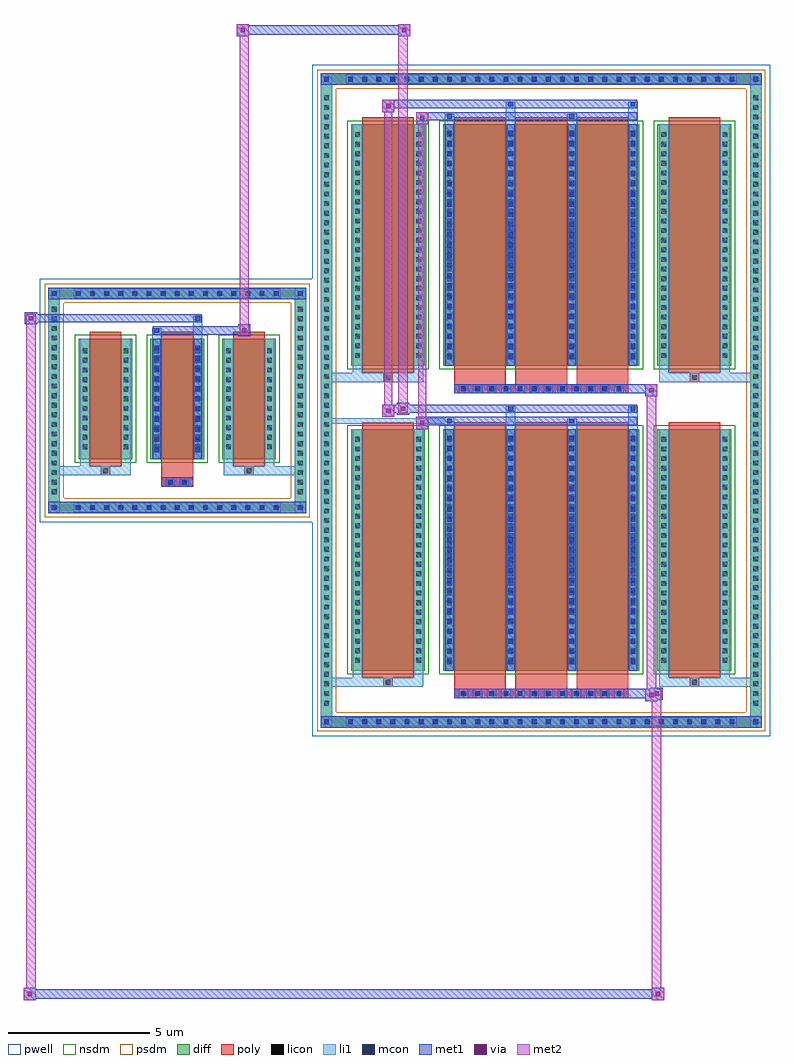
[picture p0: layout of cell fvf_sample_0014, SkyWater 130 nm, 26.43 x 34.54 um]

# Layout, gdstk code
import gdstk
lib = gdstk.Library(unit=1e-6, precision=1e-09)
def R(c, l, rs):  # rectangles x0, y0, x1, y1
    for r in rs: c.add(gdstk.rectangle(r[:2], r[2:], *l))
def A(c, l, x, y, w, h, nx, ny, dx, dy):  # array of equal rectangles
    R(c, l, [(x+i*dx, y+j*dy, x+i*dx+w, y+j*dy+h) for i in range(nx) for j in range(ny)])
def P(c, l, *ps):  # polygons
    for p in ps: c.add(gdstk.Polygon(p, *l))
pwell = (64, 44)
diff = (65, 20)
poly = (66, 20)
licon = (66, 44)
li1 = (67, 20)
mcon = (67, 44)
met1 = (68, 20)
via = (68, 44)
met2 = (69, 20)
nsdm = (93, 44)
psdm = (94, 20)

fvf_sample_0014 = lib.new_cell('fvf_sample_0014')
R(fvf_sample_0014, pwell, [(4.77,-11.888,20.992,11.888), (-4.87,-4.304,4.87,4.304)])
A(fvf_sample_0014, diff, 5.926, -11.578, 0.41, 0.41, 28, 2, 0.5, 22.746)
A(fvf_sample_0014, diff, 5.08, -10.915, 0.41, 0.41, 1, 64, 0, 0.34)
A(fvf_sample_0014, diff, 20.272, -10.915, 0.41, 0.41, 1, 64, 0, 0.34)
A(fvf_sample_0014, diff, -3.705, -3.994, 0.41, 0.41, 15, 2, 0.5, 7.578)
A(fvf_sample_0014, diff, -4.56, -3.435, 0.41, 0.41, 1, 20, 0, 0.34)
A(fvf_sample_0014, diff, 4.15, -3.435, 0.41, 0.41, 1, 20, 0, 0.34)
A(fvf_sample_0014, diff, -3.49, -2.073, 1.9, 4.262, 3, 1, 2.54, 0)
R(fvf_sample_0014, diff, [(5.926,-11.578,19.836,-11.168), (5.08,-10.915,5.49,10.915), (20.272,-10.915,20.682,10.915), (6.151,-9.557,8.767,-1.015), (9.407,-9.557,16.355,-1.015), (16.995,-9.557,19.611,-1.015), (-3.705,-3.994,3.705,-3.584), (-4.56,-3.435,-4.15,3.435), (4.15,-3.435,4.56,3.435), (6.151,1.231,8.767,9.773), (9.407,1.231,16.355,9.773), (16.995,1.231,19.611,9.773), (-3.705,3.584,3.705,3.994), (5.926,11.168,19.836,11.578)])
P(fvf_sample_0014, diff, [(4.56,3.994),(-4.56,3.994),(-4.56,-3.584),(-4.15,-3.584),(-4.15,3.584),(4.15,3.584),(4.15,-3.584),(-4.15,-3.584),(-4.56,-3.584),(-4.56,-3.994),(4.56,-3.994)],
  [(20.682,11.578),(5.08,11.578),(5.08,-11.168),(5.49,-11.168),(5.49,11.168),(20.272,11.168),(20.272,-11.168),(5.49,-11.168),(5.08,-11.168),(5.08,-11.578),(20.682,-11.578)])
A(fvf_sample_0014, poly, 9.966, -10.538, 0.33, 0.33, 12, 2, 0.5, 10.788)
A(fvf_sample_0014, poly, 9.797, -10.208, 1.836, 0.401, 3, 2, 2.166, 10.788)
A(fvf_sample_0014, poly, 9.797, -9.807, 1.836, 9.042, 3, 2, 2.166, 10.788)
A(fvf_sample_0014, poly, -3.1, -2.323, 1.12, 4.762, 3, 1, 2.54, 0)
R(fvf_sample_0014, poly, [(9.797,-10.538,15.965,-10.208), (7.294,-10.137,7.624,-9.807), (7.294,-10.137,7.624,-9.807), (18.138,-10.137,18.468,-9.807), (18.138,-10.137,18.468,-9.807), (6.541,-9.807,8.377,-0.765), (17.385,-9.807,19.221,-0.765), (-0.56,-3.054,0.56,-2.724), (-0.415,-3.054,-0.085,-2.724), (0.085,-3.054,0.415,-2.724), (-0.56,-2.724,0.56,-2.323), (-2.705,-2.653,-2.375,-2.323), (-2.705,-2.653,-2.375,-2.323), (2.375,-2.653,2.705,-2.323), (2.375,-2.653,2.705,-2.323), (9.797,0.25,15.965,0.58), (7.294,0.651,7.624,0.981), (7.294,0.651,7.624,0.981), (18.138,0.651,18.468,0.981), (18.138,0.651,18.468,0.981), (6.541,0.981,8.377,10.023), (17.385,0.981,19.221,10.023)])
A(fvf_sample_0014, licon, 6.046, -11.458, 0.17, 0.17, 28, 2, 0.5, 22.746)
A(fvf_sample_0014, licon, 5.2, -10.795, 0.17, 0.17, 1, 64, 0, 0.34)
A(fvf_sample_0014, licon, 20.392, -10.795, 0.17, 0.17, 1, 64, 0, 0.34)
A(fvf_sample_0014, licon, 10.046, -10.458, 0.17, 0.17, 12, 2, 0.5, 10.788)
A(fvf_sample_0014, licon, 6.291, -9.281, 0.17, 0.17, 1, 24, 0, 0.34)
A(fvf_sample_0014, licon, 8.457, -9.281, 0.17, 0.17, 1, 24, 0, 0.34)
A(fvf_sample_0014, licon, 9.547, -9.281, 0.17, 0.17, 4, 24, 2.166, 0.34)
A(fvf_sample_0014, licon, 17.135, -9.281, 0.17, 0.17, 1, 24, 0, 0.34)
A(fvf_sample_0014, licon, 19.301, -9.281, 0.17, 0.17, 1, 24, 0, 0.34)
A(fvf_sample_0014, licon, -3.585, -3.874, 0.17, 0.17, 15, 2, 0.5, 7.578)
A(fvf_sample_0014, licon, -4.44, -3.315, 0.17, 0.17, 1, 20, 0, 0.34)
A(fvf_sample_0014, licon, 4.27, -3.315, 0.17, 0.17, 1, 20, 0, 0.34)
A(fvf_sample_0014, licon, -3.35, -1.727, 0.17, 0.17, 1, 11, 0, 0.34)
A(fvf_sample_0014, licon, -1.9, -1.727, 0.17, 0.17, 1, 11, 0, 0.34)
A(fvf_sample_0014, licon, -0.81, -1.727, 0.17, 0.17, 1, 11, 0, 0.34)
A(fvf_sample_0014, licon, 0.64, -1.727, 0.17, 0.17, 1, 11, 0, 0.34)
A(fvf_sample_0014, licon, 1.73, -1.727, 0.17, 0.17, 1, 11, 0, 0.34)
A(fvf_sample_0014, licon, 3.18, -1.727, 0.17, 0.17, 1, 11, 0, 0.34)
A(fvf_sample_0014, licon, 6.291, 1.507, 0.17, 0.17, 1, 24, 0, 0.34)
A(fvf_sample_0014, licon, 8.457, 1.507, 0.17, 0.17, 1, 24, 0, 0.34)
A(fvf_sample_0014, licon, 9.547, 1.507, 0.17, 0.17, 4, 24, 2.166, 0.34)
A(fvf_sample_0014, licon, 17.135, 1.507, 0.17, 0.17, 1, 24, 0, 0.34)
A(fvf_sample_0014, licon, 19.301, 1.507, 0.17, 0.17, 1, 24, 0, 0.34)
R(fvf_sample_0014, licon, [(7.374,-10.057,7.544,-9.887), (18.218,-10.057,18.388,-9.887), (-0.335,-2.974,-0.165,-2.804), (0.165,-2.974,0.335,-2.804), (-2.625,-2.573,-2.455,-2.403), (2.455,-2.573,2.625,-2.403), (7.374,0.731,7.544,0.901), (18.218,0.731,18.388,0.901)])
A(fvf_sample_0014, li1, 5.966, -11.538, 0.33, 0.33, 28, 2, 0.5, 22.746)
A(fvf_sample_0014, li1, 5.12, -10.875, 0.33, 0.33, 1, 64, 0, 0.34)
A(fvf_sample_0014, li1, 20.312, -10.875, 0.33, 0.33, 1, 64, 0, 0.34)
A(fvf_sample_0014, li1, 9.966, -10.538, 0.33, 0.33, 12, 2, 0.5, 10.788)
A(fvf_sample_0014, li1, 9.467, -9.557, 0.33, 8.542, 4, 2, 2.166, 10.788)
A(fvf_sample_0014, li1, 6.211, -9.361, 0.33, 0.33, 1, 24, 0, 0.34)
A(fvf_sample_0014, li1, 8.377, -9.361, 0.33, 0.33, 1, 24, 0, 0.34)
A(fvf_sample_0014, li1, 9.467, -9.361, 0.33, 0.33, 4, 24, 2.166, 0.34)
A(fvf_sample_0014, li1, 17.055, -9.361, 0.33, 0.33, 1, 24, 0, 0.34)
A(fvf_sample_0014, li1, 19.221, -9.361, 0.33, 0.33, 1, 24, 0, 0.34)
A(fvf_sample_0014, li1, 9.547, -9.331, 0.17, 0.17, 4, 23, 2.166, 0.36)
A(fvf_sample_0014, li1, 9.547, -9.331, 0.17, 8.09, 4, 2, 2.166, 10.788)
A(fvf_sample_0014, li1, -3.665, -3.954, 0.33, 0.33, 15, 2, 0.5, 7.578)
A(fvf_sample_0014, li1, -4.52, -3.395, 0.33, 0.33, 1, 20, 0, 0.34)
A(fvf_sample_0014, li1, 4.19, -3.395, 0.33, 0.33, 1, 20, 0, 0.34)
A(fvf_sample_0014, li1, -0.81, -1.827, 0.17, 0.17, 1, 11, 0, 0.36)
A(fvf_sample_0014, li1, 0.64, -1.827, 0.17, 0.17, 1, 11, 0, 0.36)
A(fvf_sample_0014, li1, -3.43, -1.807, 0.33, 0.33, 1, 11, 0, 0.34)
A(fvf_sample_0014, li1, -1.98, -1.807, 0.33, 0.33, 1, 11, 0, 0.34)
A(fvf_sample_0014, li1, -0.89, -1.807, 0.33, 0.33, 1, 11, 0, 0.34)
A(fvf_sample_0014, li1, 0.56, -1.807, 0.33, 0.33, 1, 11, 0, 0.34)
A(fvf_sample_0014, li1, 1.65, -1.807, 0.33, 0.33, 1, 11, 0, 0.34)
A(fvf_sample_0014, li1, 3.1, -1.807, 0.33, 0.33, 1, 11, 0, 0.34)
A(fvf_sample_0014, li1, 6.211, 1.427, 0.33, 0.33, 1, 24, 0, 0.34)
A(fvf_sample_0014, li1, 8.377, 1.427, 0.33, 0.33, 1, 24, 0, 0.34)
A(fvf_sample_0014, li1, 9.467, 1.427, 0.33, 0.33, 4, 24, 2.166, 0.34)
A(fvf_sample_0014, li1, 17.055, 1.427, 0.33, 0.33, 1, 24, 0, 0.34)
A(fvf_sample_0014, li1, 19.221, 1.427, 0.33, 0.33, 1, 24, 0, 0.34)
A(fvf_sample_0014, li1, 9.547, 1.457, 0.17, 0.17, 4, 23, 2.166, 0.36)
R(fvf_sample_0014, li1, [(5.08,-11.578,5.49,-11.168), (20.272,-11.578,20.682,-11.168), (5.966,-11.538,19.796,-11.208), (5.2,-11.458,5.37,-11.288), (5.2,-11.458,5.37,-11.288), (20.392,-11.458,20.562,-11.288), (20.392,-11.458,20.562,-11.288), (5.08,-11.168,5.49,11.168), (20.272,-11.168,20.682,11.168), (5.08,-10.137,7.294,-9.807), (6.211,-10.137,6.541,-9.557), (6.211,-10.137,7.294,-9.807), (7.294,-10.137,7.624,-9.807), (7.624,-10.137,8.707,-9.807), (8.377,-10.137,8.707,-9.557), (17.055,-10.137,17.385,-9.557), (17.055,-10.137,18.138,-9.807), (18.138,-10.137,18.468,-9.807), (18.138,-10.137,20.682,-9.807), (18.468,-10.137,19.551,-9.807), (19.221,-10.137,19.551,-9.557), (6.211,-9.557,6.541,-1.015), (8.377,-9.557,8.707,-1.015), (17.055,-9.557,17.385,-1.015), (19.221,-9.557,19.551,-1.015), (-4.56,-3.994,-4.15,-3.584), (4.15,-3.994,4.56,-3.584), (-3.665,-3.954,3.665,-3.624), (-4.44,-3.874,-4.27,-3.704), (-4.44,-3.874,-4.27,-3.704), (4.27,-3.874,4.44,-3.704), (4.27,-3.874,4.44,-3.704), (-4.56,-3.584,-4.15,3.584), (4.15,-3.584,4.56,3.584), (-0.415,-3.054,-0.085,-2.724), (0.085,-3.054,0.415,-2.724), (-4.56,-2.653,-2.705,-2.323), (-3.43,-2.653,-2.705,-2.323), (-3.43,-2.653,-3.1,-2.073), (-2.705,-2.653,-2.375,-2.323), (-2.375,-2.653,-1.65,-2.323), (-1.98,-2.653,-1.65,-2.073), (1.65,-2.653,2.375,-2.323), (1.65,-2.653,1.98,-2.073), (2.375,-2.653,2.705,-2.323), (2.375,-2.653,4.56,-2.323), (2.705,-2.653,3.43,-2.323), (3.1,-2.653,3.43,-2.073), (-3.43,-2.073,-3.1,2.189), (-1.98,-2.073,-1.65,2.189), (-0.89,-2.073,-0.56,2.189), (0.56,-2.073,0.89,2.189), (1.65,-2.073,1.98,2.189), (3.1,-2.073,3.43,2.189), (-0.81,-1.827,-0.64,1.943), (0.64,-1.827,0.81,1.943), (9.467,-1.015,9.797,-0.64), (11.633,-1.015,11.963,-0.21), (13.799,-1.015,14.129,-0.64), (15.965,-1.015,16.295,-0.21), (9.487,-0.87,9.777,-0.58), (5.08,-0.825,9.487,-0.625), (9.547,-0.81,9.717,-0.64), (9.547,-0.81,9.717,-0.64), (13.879,-0.81,14.049,-0.64), (11.713,-0.38,11.883,-0.21), (16.045,-0.38,16.215,-0.21), (5.08,0.651,7.294,0.981), (6.211,0.651,6.541,1.231), (6.211,0.651,7.294,0.981), (7.294,0.651,7.624,0.981), (7.624,0.651,8.707,0.981), (8.377,0.651,8.707,1.231), (17.055,0.651,17.385,1.231), (17.055,0.651,18.138,0.981), (18.138,0.651,18.468,0.981), (18.138,0.651,20.682,0.981), (18.468,0.651,19.551,0.981), (19.221,0.651,19.551,1.231), (6.211,1.231,6.541,9.773), (8.377,1.231,8.707,9.773), (17.055,1.231,17.385,9.773), (19.221,1.231,19.551,9.773), (-0.89,2.189,-0.56,2.564), (0.56,2.189,0.89,2.994), (-0.81,2.394,-0.64,2.564), (0.64,2.824,0.81,2.994), (-4.56,3.584,-4.15,3.994), (4.15,3.584,4.56,3.994), (-3.665,3.624,3.665,3.954), (-4.44,3.704,-4.27,3.874), (-4.44,3.704,-4.27,3.874), (4.27,3.704,4.44,3.874), (4.27,3.704,4.44,3.874), (9.467,9.773,9.797,10.148), (11.633,9.773,11.963,10.578), (13.799,9.773,14.129,10.148), (15.965,9.773,16.295,10.578), (9.547,9.978,9.717,10.148), (13.879,9.978,14.049,10.148), (11.713,10.408,11.883,10.578), (16.045,10.408,16.215,10.578), (5.08,11.168,5.49,11.578), (20.272,11.168,20.682,11.578), (5.966,11.208,19.796,11.538), (5.2,11.288,5.37,11.458), (5.2,11.288,5.37,11.458), (20.392,11.288,20.562,11.458), (20.392,11.288,20.562,11.458)])
A(fvf_sample_0014, mcon, 6.046, -11.458, 0.17, 0.17, 28, 2, 0.5, 22.746)
A(fvf_sample_0014, mcon, 10.046, -10.458, 0.17, 0.17, 12, 2, 0.5, 10.788)
A(fvf_sample_0014, mcon, 9.547, -9.331, 0.17, 0.17, 4, 23, 2.166, 0.36)
A(fvf_sample_0014, mcon, -3.585, -3.874, 0.17, 0.17, 15, 2, 0.5, 7.578)
A(fvf_sample_0014, mcon, -0.81, -1.827, 0.17, 0.17, 1, 11, 0, 0.36)
A(fvf_sample_0014, mcon, 0.64, -1.827, 0.17, 0.17, 1, 11, 0, 0.36)
A(fvf_sample_0014, mcon, 9.547, 1.457, 0.17, 0.17, 4, 23, 2.166, 0.36)
R(fvf_sample_0014, mcon, [(5.2,-11.458,5.37,-11.288), (20.392,-11.458,20.562,-11.288), (-4.44,-3.874,-4.27,-3.704), (4.27,-3.874,4.44,-3.704), (-0.335,-2.974,-0.165,-2.804), (0.165,-2.974,0.335,-2.804), (9.547,-0.81,9.717,-0.64), (9.547,-0.81,9.717,-0.64), (13.879,-0.81,14.049,-0.64), (11.713,-0.38,11.883,-0.21), (16.045,-0.38,16.215,-0.21), (-0.81,2.394,-0.64,2.564), (0.64,2.824,0.81,2.994), (-4.44,3.704,-4.27,3.874), (4.27,3.704,4.44,3.874), (9.547,9.978,9.717,10.148), (13.879,9.978,14.049,10.148), (11.713,10.408,11.883,10.578), (16.045,10.408,16.215,10.578), (5.2,11.288,5.37,11.458), (20.392,11.288,20.562,11.458)])
A(fvf_sample_0014, met1, 5.986, -11.518, 0.29, 0.29, 28, 2, 0.5, 22.746)
A(fvf_sample_0014, met1, 9.986, -10.518, 0.29, 0.29, 12, 2, 0.5, 10.788)
A(fvf_sample_0014, met1, 9.487, -9.557, 0.29, 8.542, 4, 2, 2.166, 10.788)
A(fvf_sample_0014, met1, 9.487, -9.391, 0.29, 0.29, 4, 23, 2.166, 0.36)
A(fvf_sample_0014, met1, -3.645, -3.934, 0.29, 0.29, 15, 2, 0.5, 7.578)
A(fvf_sample_0014, met1, -0.87, -1.887, 0.29, 0.29, 1, 11, 0, 0.36)
A(fvf_sample_0014, met1, 0.58, -1.887, 0.29, 0.29, 1, 11, 0, 0.36)
A(fvf_sample_0014, met1, 9.487, 1.397, 0.29, 0.29, 4, 23, 2.166, 0.36)
R(fvf_sample_0014, met1, [(-5.439,-21.217,-5.009,-20.787), (16.8,-21.217,17.23,-20.787), (-5.439,-21.167,17.23,-20.837), (-5.439,-20.837,-5.009,-20.787), (16.8,-20.837,17.23,-20.787), (5.08,-11.578,5.49,-11.168), (5.08,-11.578,5.49,-11.168), (5.49,-11.578,20.272,-11.168), (20.272,-11.578,20.682,-11.168), (20.272,-11.578,20.682,-11.168), (5.14,-11.518,5.43,-11.228), (20.332,-11.518,20.622,-11.228), (16.565,-10.638,16.995,-10.208), (16.75,-10.588,17.18,-10.158), (9.797,-10.538,15.965,-10.208), (15.965,-10.538,16.75,-10.208), (15.965,-10.538,16.995,-10.208), (-4.56,-3.994,-4.15,-3.584), (-4.56,-3.994,-4.15,-3.584), (-4.15,-3.994,4.15,-3.584), (4.15,-3.994,4.56,-3.584), (4.15,-3.994,4.56,-3.584), (-4.5,-3.934,-4.21,-3.644), (4.21,-3.934,4.5,-3.644), (-0.56,-3.054,0.56,-2.724), (-0.395,-3.034,-0.105,-2.744), (0.105,-3.034,0.395,-2.744), (-0.87,-2.073,-0.58,2.189), (0.58,-2.073,0.87,2.189), (8.457,-1.01,8.887,-0.58), (8.457,-0.87,9.487,-0.58), (9.487,-0.87,9.777,-0.58), (9.487,-0.87,9.777,-0.58), (9.487,-0.87,16.275,-0.58), (13.819,-0.87,14.109,-0.58), (7.257,-0.58,7.687,-0.15), (7.772,-0.51,8.202,-0.08), (7.257,-0.44,9.487,-0.15), (8.202,-0.44,9.487,-0.15), (9.487,-0.44,16.275,-0.15), (11.653,-0.44,11.943,-0.15), (15.985,-0.44,16.275,-0.15), (16.565,0.15,16.995,0.58), (9.797,0.25,15.965,0.58), (15.965,0.25,16.995,0.58), (2.155,2.264,2.585,2.694), (-0.87,2.334,-0.58,2.624), (-0.87,2.334,0.87,2.624), (0.87,2.334,2.155,2.624), (-5.389,2.694,-4.959,3.124), (-4.959,2.764,-0.87,3.054), (-0.87,2.764,0.87,3.054), (0.58,2.764,0.87,3.054), (-4.56,3.584,-4.15,3.994), (-4.56,3.584,-4.15,3.994), (-4.15,3.584,4.15,3.994), (4.15,3.584,4.56,3.994), (4.15,3.584,4.56,3.994), (-4.5,3.644,-4.21,3.934), (4.21,3.644,4.5,3.934), (8.457,9.778,8.887,10.208), (8.457,9.918,9.487,10.208), (9.487,9.918,9.777,10.208), (9.487,9.918,16.275,10.208), (13.819,9.918,14.109,10.208), (7.257,10.208,7.687,10.638), (7.257,10.348,9.487,10.638), (9.487,10.348,16.275,10.638), (11.653,10.348,11.943,10.638), (15.985,10.348,16.275,10.638), (5.08,11.168,5.49,11.578), (5.08,11.168,5.49,11.578), (5.49,11.168,20.272,11.578), (20.272,11.168,20.682,11.578), (20.272,11.168,20.682,11.578), (5.14,11.228,5.43,11.518), (20.332,11.228,20.622,11.518), (2.105,12.893,2.535,13.323), (7.822,12.893,8.252,13.323), (2.105,12.943,8.252,13.273), (2.105,13.273,2.535,13.323), (7.822,13.273,8.252,13.323)])
R(fvf_sample_0014, via, [(-5.299,-21.077,-5.149,-20.927), (16.94,-21.077,17.09,-20.927), (16.705,-10.498,16.855,-10.348), (16.89,-10.448,17.04,-10.298), (8.597,-0.87,8.747,-0.72), (7.397,-0.44,7.547,-0.29), (7.912,-0.37,8.062,-0.22), (16.705,0.29,16.855,0.44), (2.295,2.404,2.445,2.554), (-5.249,2.834,-5.099,2.984), (8.597,9.918,8.747,10.068), (7.397,10.348,7.547,10.498), (2.245,13.033,2.395,13.183), (7.962,13.033,8.112,13.183)])
R(fvf_sample_0014, met2, [(-5.439,-21.217,-5.009,-20.787), (-5.339,-21.217,-5.009,2.744), (16.8,-21.217,17.23,-20.787), (16.8,-21.217,17.13,-10.538), (-5.389,-21.167,-5.059,-20.837), (16.85,-21.167,17.18,-20.837), (16.565,-10.638,16.995,-10.208), (16.615,-10.638,16.945,0.58), (16.945,-10.638,16.995,-10.208), (16.615,-10.588,16.945,-10.258), (16.8,-10.538,17.13,-10.208), (8.457,-1.01,8.887,-0.58), (8.527,-1.01,8.817,10.208), (8.817,-1.01,8.887,-0.58), (8.507,-0.96,8.837,-0.63), (7.257,-0.58,7.687,-0.15), (7.327,-0.58,7.617,10.638), (7.617,-0.58,7.687,-0.15), (7.307,-0.53,7.637,-0.2), (7.822,-0.46,8.152,-0.13), (7.822,-0.13,8.152,13.323), (16.565,0.15,16.995,0.58), (16.945,0.15,16.995,0.58), (16.615,0.2,16.945,0.53), (2.205,2.314,2.535,2.644), (2.205,2.644,2.535,13.323), (-5.339,2.744,-5.009,3.074), (8.457,9.778,8.887,10.208), (8.817,9.778,8.887,10.208), (8.507,9.828,8.837,10.158), (7.257,10.208,7.687,10.638), (7.617,10.208,7.687,10.638), (7.307,10.258,7.637,10.588), (2.105,12.893,2.535,13.323), (7.822,12.893,8.252,13.323), (2.155,12.943,2.485,13.273), (7.872,12.943,8.202,13.273)])
A(fvf_sample_0014, nsdm, -3.62, -2.203, 2.16, 4.522, 3, 1, 2.54, 0)
R(fvf_sample_0014, nsdm, [(6.021,-9.687,8.897,-0.885), (9.277,-9.687,16.485,-0.885), (16.865,-9.687,19.741,-0.885), (6.021,1.101,8.897,9.903), (9.277,1.101,16.485,9.903), (16.865,1.101,19.741,9.903)])
P(fvf_sample_0014, psdm, [(4.69,4.124),(-4.69,4.124),(-4.69,-3.454),(-4.02,-3.454),(-4.02,3.454),(4.02,3.454),(4.02,-3.454),(-4.02,-3.454),(-4.69,-3.454),(-4.69,-4.124),(4.69,-4.124)],
  [(20.812,11.708),(4.95,11.708),(4.95,-11.038),(5.62,-11.038),(5.62,11.038),(20.142,11.038),(20.142,-11.038),(5.62,-11.038),(4.95,-11.038),(4.95,-11.708),(20.812,-11.708)])

lib.write_gds('fvf_sample_0014.gds')
